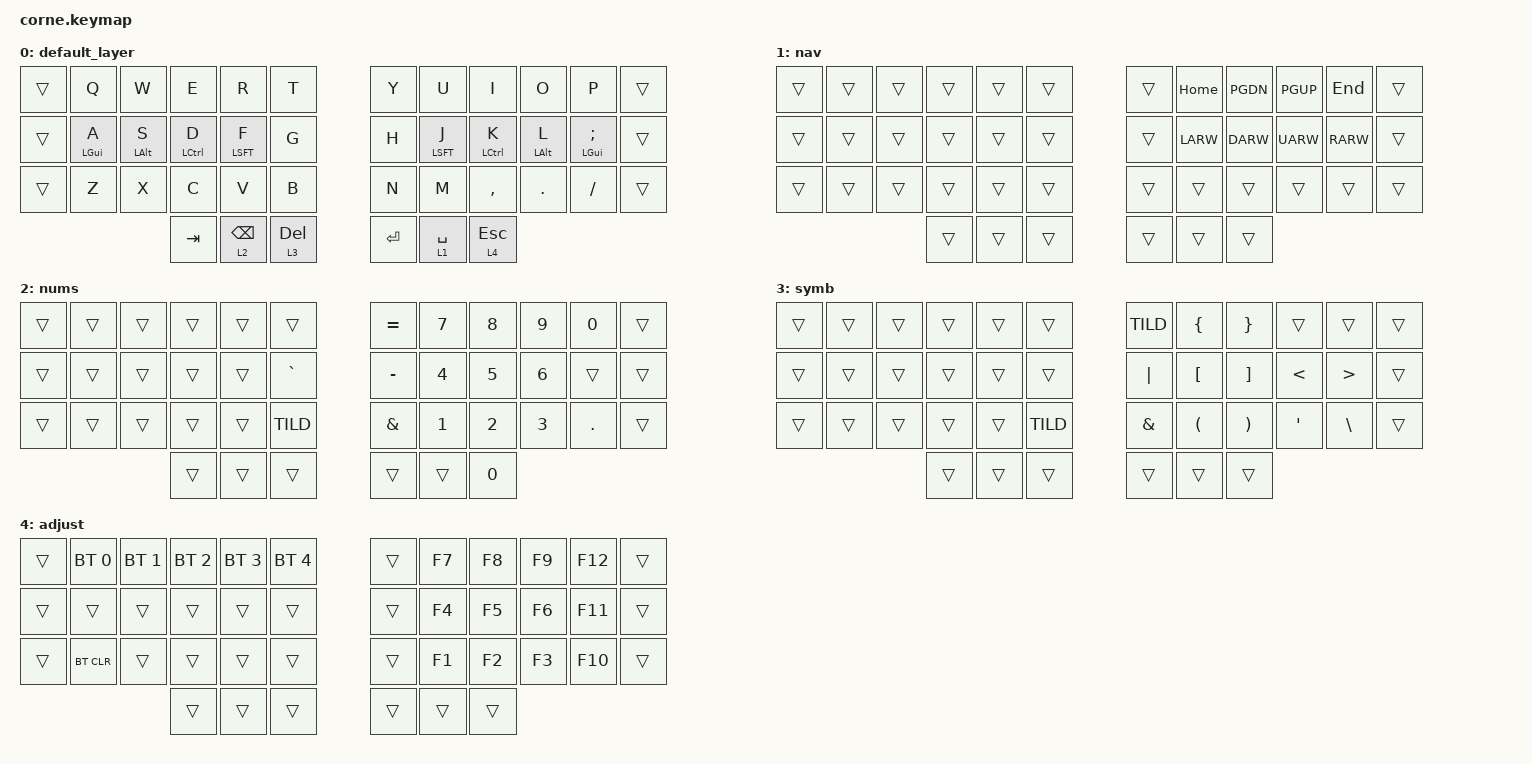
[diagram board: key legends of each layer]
/*
 * Copyright (c) 2020 The ZMK Contributors
 *
 * SPDX-License-Identifier: MIT
 */

#include <behaviors.dtsi>
#include <dt-bindings/zmk/keys.h>
#include <dt-bindings/zmk/bt.h>


&lt {
    tapping_term_ms = <150>;
};

/ {


        behaviors {
                hm: homerow_mods {
                compatible = "zmk,behavior-hold-tap";
                label = "HOMEROW_MODS";
                #binding-cells = <2>;
                tapping_term_ms = <150>;
                flavor = "tap-preferred";
                bindings = <&kp>, <&kp>;
                };
        };

        keymap {
                compatible = "zmk,keymap";

                default_layer {
// -----------------------------------------------------------------------------------------
// |  TAB |  Q  |  W  |  E  |  R  |  T  |   |  Y  |  U   |  I  |  O  |  P  | BKSP |
// | CTRL |  A  |  S  |  D  |  F  |  G  |   |  H  |  J   |  K  |  L  |  ;  |  '   |
// | SHFT |  Z  |  X  |  C  |  V  |  B  |   |  N  |  M   |  ,  |  .  |  /  | SHFT |
//                    | GUI | LWR | SPC |   | ENT | RSE  | ALT |
                        bindings = <
   &trans &kp Q       &kp W      &kp E &kp R &kp T               &kp Y &kp U  &kp I    &kp O    &kp P &trans 
   &trans &hm LGUI A  &hm LALT S &hm LCTL D &hm LSFT F &kp G     &kp H &hm LSFT J  &hm LCTL K   &hm LALT L   &hm LGUI SCLN &trans 
   &trans &kp Z &kp X &kp C &kp V &kp B                          &kp N &kp M  &kp CMMA &kp DOT &kp FSLH &trans 
	                &kp TAB &lt 2 BKSP &lt 3 DEL             &kp RET  &lt 1 SPC  &lt 4 ESC
			>;
		};                
                
               	nav {
			bindings = <
	&trans &trans &trans &trans &trans &trans         &trans &kp HOME  &kp PGDN &kp PGUP  &kp END  &trans
	&trans &trans &trans &trans &trans &trans         &trans &kp LARW  &kp DARW &kp UARW  &kp RARW &trans
	&trans &trans &trans &trans &trans &trans         &trans &trans    &trans   &trans    &trans   &trans
	                     &trans &trans &trans         &trans &trans &trans 
			>;
		};

	        nums {
		        bindings = <
	&trans &trans &trans &trans &trans &trans                   &kp EQL   &kp NUM_7  &kp NUM_8  &kp NUM_9   &kp NUM_0    &trans
	&trans &trans &trans &trans &trans &kp GRAV                 &kp MINUS &kp NUM_4  &kp NUM_5  &kp NUM_6   &trans &trans
	&trans &trans &trans &trans &trans &kp TILD                 &kp AMPS  &kp NUM_1  &kp NUM_2  &kp NUM_3   &kp DOT &trans
	                     &trans &trans &trans                   &trans    &trans &kp NUM_0 
			>;
		};
		symb {
			bindings = <
	&trans &trans &trans &trans &trans &trans       &kp TILD    &kp LBRC  &kp RBRC  &trans      &trans   &trans
	&trans &trans &trans &trans &trans &trans       &kp PIPE    &kp LBKT  &kp RBKT  &kp LT      &kp GT   &trans
	&trans &trans &trans &trans &trans &kp TILD     &kp AMPS    &kp LPRN  &kp RPRN  &kp QUOT    &kp BSLH &trans
	                     &trans &trans &trans            &trans  &trans    &trans 
			>;
		};
		
		adjust {
			bindings = <
        &trans &bt BT_SEL 0 &bt BT_SEL 1 &bt BT_SEL 2 &bt BT_SEL 3 &bt BT_SEL 4    &trans &kp F7  &kp F8  &kp F9   &kp F12   &trans
	&trans &trans &trans &trans &trans &trans                                  &trans &kp F4  &kp F5  &kp F6   &kp F11   &trans
	&trans &bt BT_CLR &trans &trans &trans &trans                              &trans &kp F1  &kp F2  &kp F3   &kp F10   &trans
	                         &trans &trans &trans                              &trans  &trans  &trans
			>;
                };
        };
};
